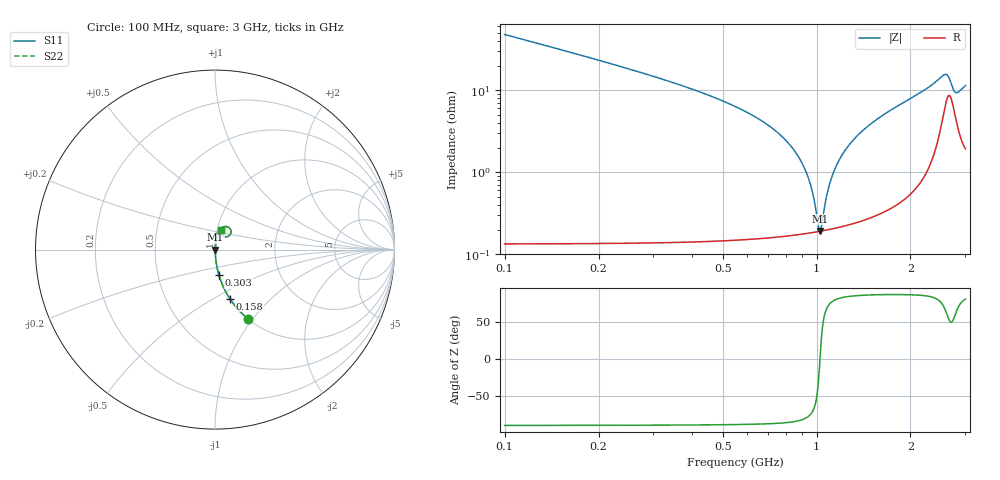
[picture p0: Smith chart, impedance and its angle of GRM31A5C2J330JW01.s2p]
!Murata Part Number: GRM31A5C2J330JW01
!These Parameters are Measured in Series Mode Connection
!Data Generated on Mar 30, 2021
!  o--ll--o
!Port1  Port2
!  o------o
!Operation Temp=25[degC], DC Bias Voltage=0[V]
!Freq. Start=100[MHz] Stop=3[GHz] 401[Steps]
# Hz S RI R 50
!Freq.(Hz) S11(Real) S11(Imag) S21(Real) S21(Imag) S12(Real) S12(Imag) S22(Real) S22(Imag)
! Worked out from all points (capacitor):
!   401 points, 100 MHz to 3 GHz, reference 50 ohm
!   read as one part in series: C = 33 pF near 114.5 MHz
!   lowest |Z| = 192 mohm at 1.028 GHz (marker M1)
!   series resonance near 1.026 GHz, so ESL is about 730 pH
!   S11 on the Smith chart (normalised r, x): 100 MHz: 1.00, -0.96; 158 MHz: 1.00, -0.60; 303 MHz: 1.00, -0.29; 3 GHz: 1.04, +0.22
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1e8  0.1866 -0.3882  0.8134 0.3882  0.8134 0.3882  0.1866 -0.3882
1.58e8  0.0827 -0.2732  0.9173 0.2732  0.9173 0.2732  0.0827 -0.2732
3.03e8  0.0221 -0.1423  0.9779 0.1423  0.9779 0.1423  0.0221 -0.1423
5.8575e8  0.00462 -0.0557  0.9954 0.0557  0.9954 0.0557  0.00462 -0.0557
7.67e8  0.00242 -0.0281  0.9976 0.0281  0.9976 0.0281  0.00242 -0.0281
8.83e8  0.00195 -0.0144  0.9981 0.0144  0.9981 0.0144  0.00195 -0.0144
9.4825e8  0.00187 -0.00758  0.9981 0.00758  0.9981 0.00758  0.00187 -0.00758
9.7725e8  0.00187 -0.00468  0.9981 0.00468  0.9981 0.00468  0.00187 -0.00468
1.0135e9  0.00189 -0.00117  0.9981 0.00117  0.9981 0.00117  0.00189 -0.00117
1.028e9  0.00191 0.000203  0.9981 -0.000203  0.9981 -0.000203  0.00191 0.000203
1.0425e9  0.00193 0.00156  0.9981 -0.00156  0.9981 -0.00156  0.00193 0.00156
1.0715e9  0.00198 0.00422  0.998 -0.00422  0.998 -0.00422  0.00198 0.00422
1.1005e9  0.00205 0.00683  0.9979 -0.00683  0.9979 -0.00683  0.00205 0.00683
1.1295e9  0.00213 0.00938  0.9979 -0.00938  0.9979 -0.00938  0.00213 0.00938
1.22375e9  0.0025 0.0174  0.9975 -0.0174  0.9975 -0.0174  0.0025 0.0174
1.3615e9  0.00327 0.0284  0.9967 -0.0284  0.9967 -0.0284  0.00327 0.0284
1.55e9  0.00479 0.0429  0.9952 -0.0429  0.9952 -0.0429  0.00479 0.0429
2.03575e9  0.0124 0.0808  0.9876 -0.0808  0.9876 -0.0808  0.0124 0.0808
2.5215e9  0.0561 0.1285  0.9439 -0.1285  0.9439 -0.1285  0.0561 0.1285
2.623e9  0.0872 0.1109  0.9128 -0.1109  0.9128 -0.1109  0.0872 0.1109
2.78975e9  0.05 0.0742  0.95 -0.0742  0.95 -0.0742  0.05 0.0742
3e9  0.0307 0.1066  0.9693 -0.1066  0.9693 -0.1066  0.0307 0.1066
